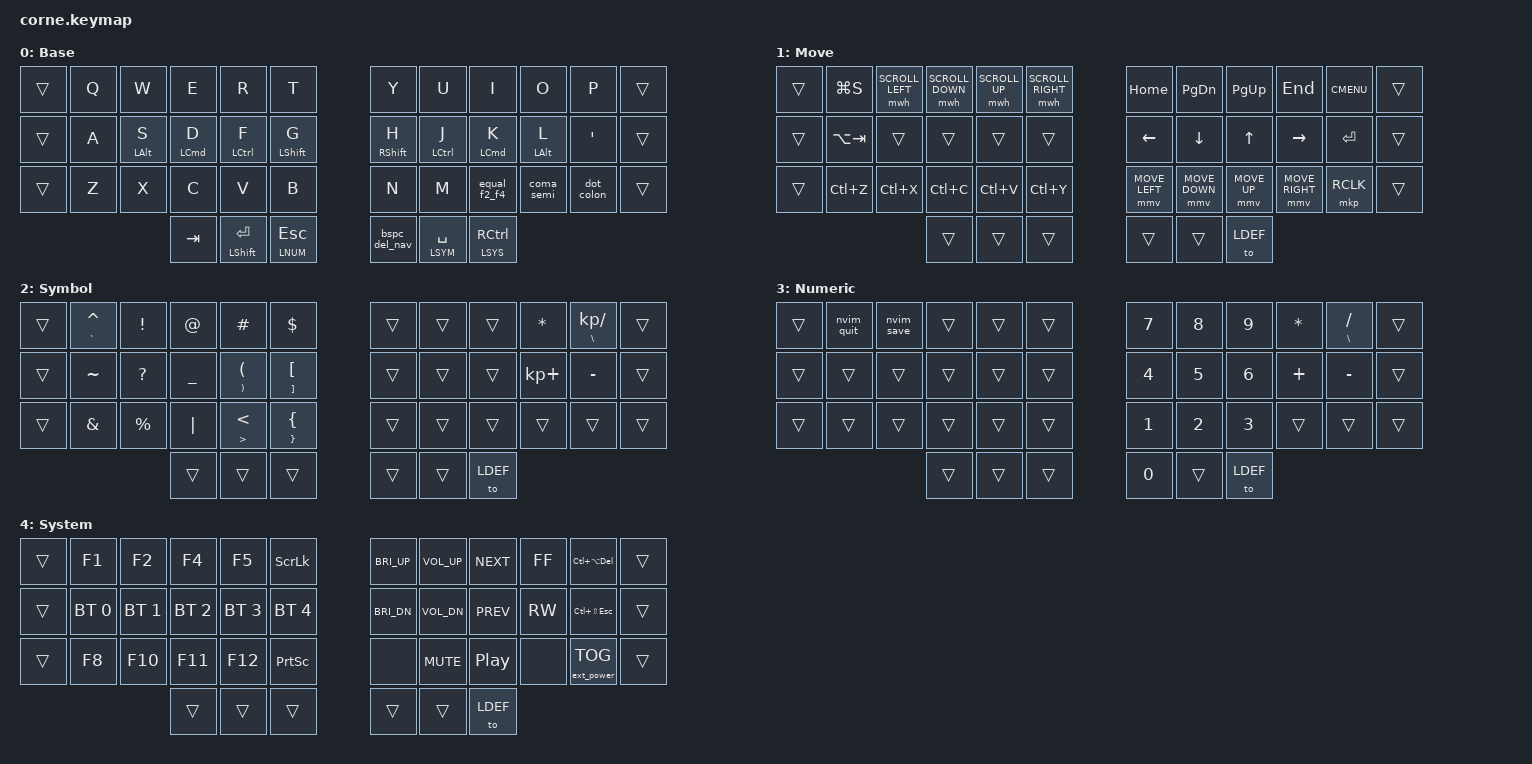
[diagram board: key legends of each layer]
#include <behaviors.dtsi>
#include <dt-bindings/zmk/bt.h>         // Bluetooth Command Defines
#include <dt-bindings/zmk/keys.h>       // Keycode Defines
#include <dt-bindings/zmk/ext_power.h>  // Power Management Behaviors
#include "mouse_old.dtsi"               // Mouse Emulation Utilities
#include "combos.dtsi"                   // Combo Key Utilities


// REFER TO LAYERS ///////////////////////////////////////////////////////////////////////////////////////////////////////////////
// When working with layers, you may have several different key positions with bindings that enable/disable those layers.
// To make it easier to refer to those layers in your key bindings, and to change which layers are where later, you can
// add a set of #defines at the top of your keymap file, and use those layer in your keymap.
#define LDEF 0
#define LNAV 1
#define LSYM 2
#define LNUM 3
#define LSYS 4


/ {
    // ###############################################################################################################################
    // COMBOS ########################################################################################################################
    // ###############################################################################################################################
    combos {
        compatible = "zmk,combos";
//     -------------------------------------------------------------     -------------------------------------------------------------
//     |    KL15   |    KL14   |    KL13   |    KL12   |    KL11   |     |    KR11   |    KR12   |    KR13   |    KR14   |   KR15    |
//     |    KL25   |    KL24   |    KL23   |    KL22   |    KL21   |     |    KR21   |    KR22   |    KR23   |    KR24   |   KR25    |
//     |    KL35   |    KL34   |    KL33   |    KL32   |    KL31   |     |    KR31   |    KR32   |    KR33   |    KR34   |   KR35    |
//     ------------------------|    KL43   |    KL42   |    KL41   |     |    KR41   |    KR42   |    KR43   |------------------------
//                            -------------------------------------     -------------------------------------

        // STICKY LAYERS COMBO ########################################################################################################
        // Sticks NUMERIC LAYER ON
        combo_LNUM {
            timeout-ms = <75>;
            key-positions = <KL43 KL41>;
            bindings = <&to LNUM>;
        };
        // Sticks NAVIGATION LAYER ON
        combo_LNAV {
            timeout-ms = <75>;
            key-positions = <KL43 KR41>;
            bindings = <&to LNAV>;
        };
        // Sticks SYMBOL LAYER ON
        combo_LSYM {
            timeout-ms = <75>;
            key-positions = <KL43 KR42>;
            bindings = <&to LSYM>;
        };
        // Sticks SYSTEM LAYER ON
        combo_LSYS {
            timeout-ms = <75>;
            key-positions = <KL43 KR43>;
            bindings = <&to LSYS>;
        };

        // MOUSE COMBOS ##############################################################################################################
        combo_MOUSECLICK {
            timeout-ms = <75>;
            key-positions = <KR32 KR33 KR34>;
            bindings = <&mkp LCLK>;
        };

        // STICKY MODS COMBOS ########################################################################################################
        // Sticks CAPSLOCK ON
        combo_CAPS {
            timeout-ms = <75>;
            key-positions = <KL43 KL42>;
            bindings = <&kp CAPSLOCK>;
        };

        // MISCELLANEOUS COMBOS #######################################################################################################
        // Clears current BT pairing
        combo_BT_CRL {
            timeout-ms = <50>;
            key-positions = <KL25 KL24 KL23 KL22>;
            bindings = <&bt BT_CLR>;
            layers = <LSYS>;
        };

        // NVIM save and quit combo
        combo_NVIM_SAVEQUIT {
            timeout-ms = <75>;
            key-positions = <KL15 KL14>;
            bindings = <&nvim_savequit>;
            layers = <LNUM>;
        };

        // CCEDIL xpsarch combo (keymap workaround using RALT+, c)
        combo_CCDEIL {
            timeout-ms = <75>;
            key-positions = <KR25 KL33>;
            bindings = <&ccedil_xpsarch_macro>;
            layers = <LDEF>;
        };
    };

    // ###############################################################################################################################
    // BEHAVIORS #####################################################################################################################
    // ###############################################################################################################################
    behaviors {
        // Hold for HomeRow Mods and Tap for Keys
        hm: homerow_mods {
            compatible = "zmk,behavior-hold-tap";
            label = "HOMEROW_MODS";
            #binding-cells = <2>;
            tapping-term-ms = <175>;
            quick-tap-ms = <100>;
            require-prior-idle-ms = <150>;
            flavor = "tap-preferred";
            bindings = <&kp>, <&kp>;
        };

        // Slow Hold for HomeRow Mods and Tap for Keys
        shm: slow_homerow_mods {
            compatible = "zmk,behavior-hold-tap";
            label = "SLOW_HOMEROW_MODS";
            #binding-cells = <2>;
            tapping-term-ms = <200>;
            quick-tap-ms = <150>;
            require-prior-idle-ms = <250>;
            flavor = "balanced";
            bindings = <&kp>, <&kp>;
        };

        // Thumb Hold for Mods and Taps for Keys
        tmt: thumb_mod_tap {
            compatible = "zmk,behavior-hold-tap";
            label = "THUMB_MOD_TAP";
            #binding-cells = <2>;
            tapping-term-ms = <200>;
            flavor = "hold-preferred";
            bindings = <&kp>, <&kp>;
        };

        // Thumb Hold for Layers and Tap for Keys
        tlt: thumb_layer_tap {
            compatible = "zmk,behavior-hold-tap";
            label = "THUMB_LAYER_TAP";
            #binding-cells = <2>;
            tapping-term-ms = <250>;
            quick-tap-ms = <150>;
            require-prior-idle-ms = <75>;
            flavor = "balanced";
            bindings = <&mo>, <&kp>;
        };

        // Custom Hold and Tap Behavior
        cht: custom_hold_tap {
            compatible = "zmk,behavior-hold-tap";
            label = "CUSTOM_HOLD_TAP";
            #binding-cells = <2>;
            tapping-term-ms = <175>;
            quick-tap-ms = <100>;
            flavor = "tap-preferred";
            bindings = <&kp>, <&kp>;
        };

        // tap: BACKSPACE | RSHIFT + tap: DELETE
        bspc_del_nav: bspc_del_nav {
            compatible = "zmk,behavior-mod-morph";
            label = "BACKSPACE_DELETE_NAV";
            #binding-cells = <0>;
            bindings = <&tlt LNAV BACKSPACE>, <&kp DELETE>;
            mods = <(MOD_RSFT)>;
        };

        // Morphs LSHIFT + EQUAL into F4
        equal_f2_f4: equal_f2_f4 {
            compatible = "zmk,behavior-mod-morph";
            label = "EQUAL_F2_F4";
            #binding-cells = <0>;
            bindings = <&cht F2 EQUAL>, <&kp F4>;
            mods = <(MOD_LSFT|MOD_RSFT)>;
            keep-mods = <(MOD_RSFT)>;
        };

        // Morphs LSHIFT + DOT into COLON
        dot_colon: dot_colon {
            compatible = "zmk,behavior-mod-morph";
            label = "DOT_COLON";
            #binding-cells = <0>;
            bindings = <&kp DOT>, <&kp COLON>;
            mods = <(MOD_LSFT|MOD_RSFT)>;
            keep-mods = <(MOD_RSFT)>;
        };

        // Morphs LSHIFT + COMA into SEMI
        coma_semi: coma_semi {
            compatible = "zmk,behavior-mod-morph";
            label = "COMA_SEMI";
            #binding-cells = <0>;
            bindings = <&kp COMMA>, <&kp SEMI>;
            mods = <(MOD_LSFT|MOD_RSFT)>;
            keep-mods = <(MOD_RSFT)>;
        };
    };

    // ###############################################################################################################################
    // MACROS ########################################################################################################################
    // ###############################################################################################################################
    macros {
        // Macro: ESC :w ENTER
        nvim_save: nvim_save {
            label = "nvim_save";
            compatible = "zmk,behavior-macro";
            #binding-cells = <0>;
            wait-ms = <30>;
            tap-ms = <40>;
            bindings = <&macro_tap &kp ESC &kp COLON &kp W &kp ENTER>;
        };

        // Macro: ESC :q! ENTER
        nvim_quit: nvim_quit {
            label = "nvim_quit";
            compatible = "zmk,behavior-macro";
            #binding-cells = <0>;
            wait-ms = <30>;
            tap-ms = <40>;
            bindings = <&macro_tap &kp ESC &kp COLON &kp Q &kp EXCLAMATION &kp ENTER>;
        };

        // Macro: ESC :wq ENTER
        nvim_savequit: nvim_savequit {
            label = "nvim_savequit";
            compatible = "zmk,behavior-macro";
            #binding-cells = <0>;
            wait-ms = <30>;
            tap-ms = <40>;
            bindings = <&macro_tap &kp ESC &kp COLON &kp W &kp Q &kp ENTER>;
        };

        // Macro: RALT+, c (CCEDIL in xpsarch keymap workaround)
        ccedil_xpsarch_macro: ccedil_xpsarch_macro {
            label = "ccedil_xpsarch_macro";
            compatible = "zmk,behavior-macro";
            #binding-cells = <0>;
            wait-ms = <30>;
            tap-ms = <40>;
            bindings = <&macro_tap &kp RA(COMMA) &kp C>;
        };
    };

    // ###############################################################################################################################
    // KEYMAP ########################################################################################################################
    // ###############################################################################################################################
    keymap {
        compatible = "zmk,keymap";


//       -------------------------------------------------------------     -------------------------------------------------------------
//       |     Q     |     W     |     E     |     R     |     T     |     |     Y     |     U     |     I     |     O     |     P     |
//       |     A     |     S     |     D     |     F     |     G     |     |     H     |     J     |     K     |     L     |    ' "    |
//       |     Z     |     X     |     C     |     V     |     B     |     |     N     |     M     |    = F2   |    , ;    |    . :    |
//       ------------------------|    TAB    |   ENTER   |    ESC    |     |    BSPC   |   SPACE   |   CAPSW   |------------------------
//                               -------------------------------------     -------------------------------------
        default_layer {
            label = "Base";
            bindings = <
&trans       &kp Q       &kp W       &kp E       &kp R       &kp T             &kp Y        &kp U      &kp I        &kp O       &kp P                &trans
&trans       &kp A       &shm LALT S &hm LCMD D  &hm LCTRL F &hm LSHIFT G     &hm RSHIFT H &hm LCTRL J &hm LCMD K   &shm LALT L &kp SQT              &trans
&trans       &kp Z       &kp X       &kp C       &kp V       &kp B             &kp N        &kp M    &equal_f2_f4 &coma_semi    &dot_colon           &trans
                        &kp TAB    &tmt LSHFT ENTER    &tlt LNUM ESC       &bspc_del_nav   &tlt LSYM SPACE     &tlt LSYS RCTRL
            >;
        };


//       -------------------------------------------------------------     -------------------------------------------------------------
//       |   WIN+S   | SCLL LEFT | SCLL DOWN |  SCLL UP  | SCLL RGHT |     |    HOME   |    PgDn   |    PgUp   |    END    |     ≣     |
//       |  ALT+TAB  |           |           |           |           |     |    LEFT   |    DOWN   |     UP    |   RIGHT   |   ENTER   |
//       |    UNDO   |    CUT    |    COPY   |   PASTE   |    REDO   |     |   M LEFT  |   M DOWN  |    M UP   |  M RIGHT  |  R CLICK  |
//       ------------------------|           |           |           |     |███████████|           |           |------------------------
//                               -------------------------------------     -------------------------------------
        nav_layer {
            label = "Move";
            bindings = <
&trans    &kp LG(S) &mwh SCROLL_LEFT &mwh SCROLL_DOWN &mwh SCROLL_UP &mwh SCROLL_RIGHT           &kp HOME    &kp PG_DN    &kp PG_UP   &kp END         &kp K_CMENU      &trans
&trans    &kp LA(TAB) &trans      &trans      &trans       &trans            &kp LEFT    &kp DOWN       &kp UP    &kp RIGHT       &kp ENTER        &trans
&trans    &kp LC(Z)   &kp LC(X)   &kp LC(C)   &kp LC(V)    &kp LC(Y)     &mmv MOVE_LEFT &mmv MOVE_DOWN &mmv MOVE_UP &mmv MOVE_RIGHT &mkp RCLK      &trans
                                    &trans      &trans       &trans           &trans      &trans      &to LDEF
            >;
        };
//         nav_layer {
//             label = "Move";
//             bindings = <
// &trans      &kp LG(S)   &U_WH_L     &U_WH_D     &U_WH_U      &U_WH_R           &kp HOME    &kp PG_DN    &kp PG_UP   &kp END         &kp K_CMENU      &trans
// &trans      &kp LA(TAB) &trans      &trans      &trans       &trans            &kp LEFT    &kp DOWN       &kp UP    &kp RIGHT       &kp ENTER        &trans
// &trans      &kp LC(Z)   &kp LC(X)   &kp LC(C)   &kp LC(V)    &kp LC(Y)     &mmv MOVE_LEFT &mmv MOVE_DOWN &mmv MOVE_UP &mmv MOVE_RIGHT &mkp RCLK      &trans
//                                     &trans      &trans       &trans           &trans      &trans      &to LDEF
//             >;
//         };


//       -------------------------------------------------------------     -------------------------------------------------------------
//       |    ` ^    |     !     |     @     |     #     |     $     |     |           |           |           |     *     |    / \    |
//       |     ~     |     ?     |     _     |    ( )    |    [ ]    |     |           |           |           |     +     |     -     |
//       |     &     |     %     |     |     |    < >    |    { }    |     |           |           |           |           |           |
//       ------------------------|           |           |           |     |           |███████████|           |------------------------
//                               -------------------------------------     -------------------------------------
        symbol_layer {
            label = "Symbol";
            bindings = <
&trans  &cht GRAVE CARET &kp EXCL  &kp AT      &kp HASH    &kp DOLLAR         &trans      &trans      &trans      &kp ASTRK   &cht BSLH KP_SLASH   &trans
&trans    &kp TILDE     &kp QMARK &kp UNDER &cht RPAR LPAR &cht RBKT LBKT     &trans      &trans      &trans      &kp KP_PLUS &kp MINUS            &trans
&trans    &kp AMPS      &kp PRCNT  &kp PIPE   &cht GT LT   &cht RBRC LBRC     &trans      &trans      &trans      &trans      &trans               &trans
                                    &trans       &trans       &trans          &trans      &trans      &to LDEF
            >;
        };

//       -------------------------------------------------------------     -------------------------------------------------------------
//       |  ESC :q!  |  ESC :w   |           |           |           |     |     7     |     8     |     9     |     *     |    / \    |
//       |           |           |           |           |           |     |     4     |     5     |     6     |     +     |     -     |
//       |           |           |           |           |           |     |     1     |     2     |     3     |           |           |
//       ------------------------|           |           |███████████|     |     0     |           |           |------------------------
//                               -------------------------------------     -------------------------------------
        numerical_layer {
            label = "Numeric";
            bindings = <
&trans      &nvim_quit  &nvim_save  &trans      &trans       &trans      &kp N7      &kp N8      &kp N9    &kp ASTRK  &cht BSLH SLASH         &trans
&trans      &trans      &trans      &trans      &trans       &trans      &kp N4      &kp N5      &kp N6    &kp PLUS   &kp MINUS              &trans
&trans      &trans      &trans      &trans      &trans       &trans      &kp N1      &kp N2      &kp N3    &trans     &trans                 &trans
                                 &trans       &trans       &trans          &kp N0     &trans      &to LDEF
            >;
        };


//       -------------------------------------------------------------     -------------------------------------------------------------
//       |     F1    |     F2    |     F4    |     F5    |  SCRLOCK  |     |    B.UP   |    V.UP   |    NEXT   |    FF     |CTL+ALT+DEL|
//       |    BT1    |    BT2    |    BT3    |    BT4    |    BT5    |     |   B.DOWN  |   V.DOWN  |    PREV   |    RW     |CTL+SHT+ESC|
//       |     F8    |    F10    |    F11    |    F12    |   PSCRN   |     |▒▒▒▒▒▒▒▒▒▒▒|    MUTE   |    PLAY   |▒▒▒▒▒▒▒▒▒▒▒| EXT.POWER |
//       ------------------------|           |           |           |     |           |           |███████████|------------------------
//                               -------------------------------------     ------------------------------------
        system_layer {
            label = "System";
            bindings = <
&trans     &kp F1      &kp F2      &kp F4       &kp F5      &kp SLCK          &kp C_BRI_UP  &kp C_VOL_UP  &kp C_NEXT  &kp C_FF   &kp LC(LA(DEL))     &trans
&trans  &bt BT_SEL 0 &bt BT_SEL 1 &bt BT_SEL 2 &bt BT_SEL 3 &bt BT_SEL 4      &kp C_BRI_DN  &kp C_VOL_DN  &kp C_PREV  &kp C_RW   &kp LC(LS(ESC))     &trans
&trans     &kp F8      &kp F10     &kp F11      &kp F12     &kp PSCRN         &none         &kp C_MUTE    &kp C_PP    &none      &ext_power EP_TOG   &trans
                                   &trans       &trans      &trans            &trans     &trans       &to LDEF
            >;
        };

    };
};
